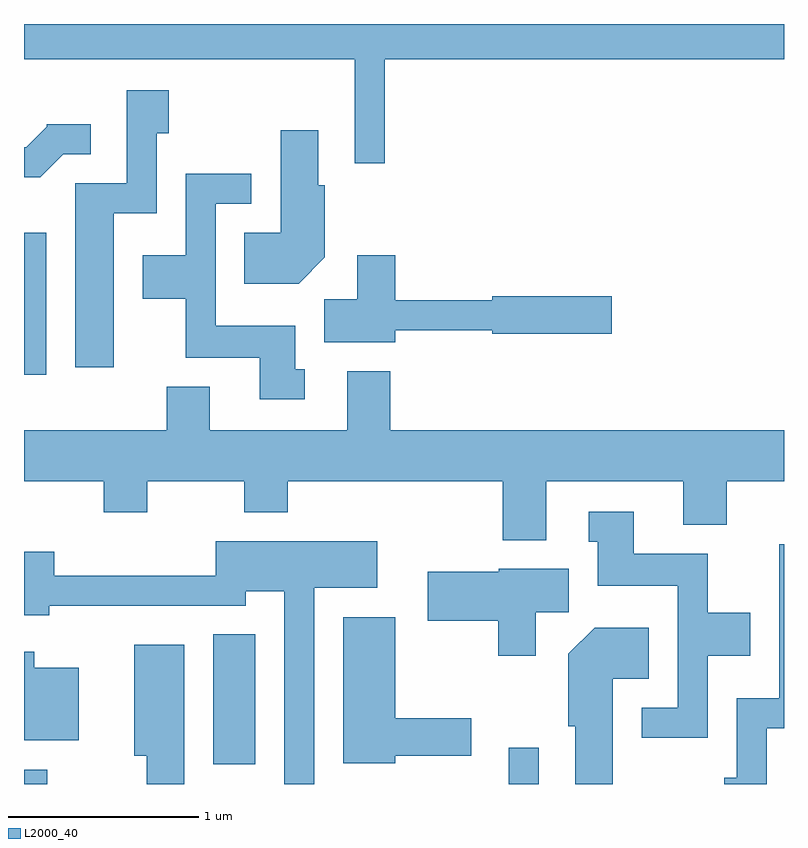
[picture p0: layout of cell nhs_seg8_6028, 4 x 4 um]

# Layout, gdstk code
import gdstk
lib = gdstk.Library(unit=1e-6, precision=1e-09)
def R(c, l, rs):  # rectangles x0, y0, x1, y1
    for r in rs: c.add(gdstk.rectangle(r[:2], r[2:], *l))
def P(c, l, *ps):  # polygons
    for p in ps: c.add(gdstk.Polygon(p, *l))
L2000_40 = (2000, 40)

nhs_seg8_6028 = lib.new_cell('nhs_seg8_6028')
R(nhs_seg8_6028, L2000_40, [(365.611,1870.342,365.734,1870.418), (368.161,1870.342,368.319,1870.533), (366.606,1870.446,366.829,1871.129), (365.611,1872.496,365.729,1873.244)])
P(nhs_seg8_6028, L2000_40, [(367.509,1874.156),(369.611,1874.156),(369.611,1874.342),(365.611,1874.342),(365.611,1874.156),(367.351,1874.156),(367.351,1873.608),(367.509,1873.608)],
  [(366.084,1873.346),(366.309,1873.346),(366.309,1873.766),(366.374,1873.766),(366.374,1873.994),(366.151,1873.994),(366.151,1873.504),(365.881,1873.504),(365.881,1872.536),(366.084,1872.536)],
  [(365.817,1873.656),(365.963,1873.656),(365.963,1873.814),(365.73,1873.814),(365.73,1873.801),(365.624,1873.694),(365.611,1873.694),(365.611,1873.536),(365.697,1873.536)],
  [(367.194,1873.114),(367.194,1873.494),(367.159,1873.494),(367.159,1873.784),(366.961,1873.784),(366.961,1873.244),(366.771,1873.244),(366.771,1872.976),(367.057,1872.976)],
  [(367.088,1872.524),(367.039,1872.524),(367.039,1872.754),(366.619,1872.754),(366.619,1873.396),(366.808,1873.396),(366.808,1873.554),(366.461,1873.554),(366.461,1873.124),(366.236,1873.124),(366.236,1872.896),(366.461,1872.896),(366.461,1872.586),(366.851,1872.586),(366.851,1872.366),(367.088,1872.366)],
  [(367.564,1872.731),(368.076,1872.731),(368.076,1872.711),(368.704,1872.711),(368.704,1872.909),(368.076,1872.909),(368.076,1872.889),(367.564,1872.889),(367.564,1873.124),(367.366,1873.124),(367.366,1872.894),(367.191,1872.894),(367.191,1872.666),(367.564,1872.666)],
  [(368.359,1871.936),(369.081,1871.936),(369.081,1871.706),(369.309,1871.706),(369.309,1871.936),(369.611,1871.936),(369.611,1872.204),(367.539,1872.204),(367.539,1872.514),(367.311,1872.514),(367.311,1872.204),(366.589,1872.204),(366.589,1872.434),(366.361,1872.434),(366.361,1872.204),(365.611,1872.204),(365.611,1871.936),(366.031,1871.936),(366.031,1871.771),(366.259,1871.771),(366.259,1871.936),(366.771,1871.936),(366.771,1871.771),(366.999,1871.771),(366.999,1871.936),(368.131,1871.936),(368.131,1871.626),(368.359,1871.626)],
  [(369.209,1871.016),(369.434,1871.016),(369.434,1871.244),(369.209,1871.244),(369.209,1871.554),(368.819,1871.554),(368.819,1871.774),(368.583,1871.774),(368.583,1871.616),(368.631,1871.616),(368.631,1871.386),(369.051,1871.386),(369.051,1870.744),(368.863,1870.744),(368.863,1870.586),(369.209,1870.586)],
  [(367.139,1871.376),(367.469,1871.376),(367.469,1871.619),(366.621,1871.619),(366.621,1871.439),(365.769,1871.439),(365.769,1871.564),(365.611,1871.564),(365.611,1871.231),(365.744,1871.231),(365.744,1871.281),(366.779,1871.281),(366.779,1871.356),(366.981,1871.356),(366.981,1870.342),(367.139,1870.342)],
  [(369.519,1870.636),(369.611,1870.636),(369.611,1871.604),(369.586,1871.604),(369.586,1870.794),(369.361,1870.794),(369.361,1870.374),(369.296,1870.374),(369.296,1870.342),(369.519,1870.342)],
  [(368.304,1871.246),(368.479,1871.246),(368.479,1871.474),(368.11,1871.474),(368.11,1871.459),(367.736,1871.459),(367.736,1871.201),(368.106,1871.201),(368.106,1871.016),(368.304,1871.016)],
  [(367.564,1870.491),(367.964,1870.491),(367.964,1870.689),(367.564,1870.689),(367.564,1871.219),(367.291,1871.219),(367.291,1870.451),(367.564,1870.451)],
  [(368.709,1870.896),(368.899,1870.896),(368.899,1871.164),(368.614,1871.164),(368.476,1871.027),(368.476,1870.646),(368.511,1870.646),(368.511,1870.342),(368.709,1870.342)],
  [(366.454,1871.074),(366.191,1871.074),(366.191,1870.491),(366.256,1870.491),(366.256,1870.342),(366.454,1870.342)],
  [(365.899,1870.954),(365.664,1870.954),(365.664,1871.039),(365.611,1871.039),(365.611,1870.571),(365.899,1870.571)])

lib.write_gds('nhs_seg8_6028.gds')
